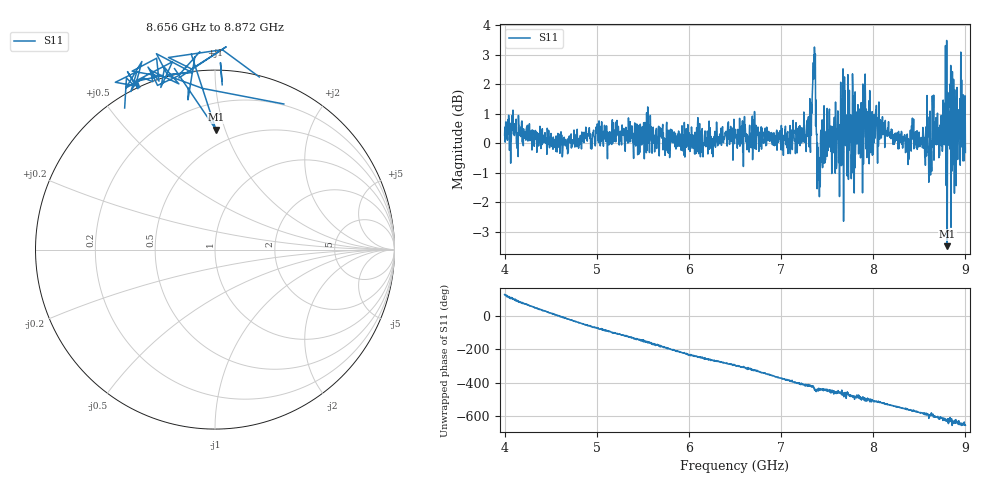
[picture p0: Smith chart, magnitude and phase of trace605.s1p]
! Created with skrf 1.8.0 (http://scikit-rf.org).
# Hz S RI R 50.0
!freq ReS11 ImS11
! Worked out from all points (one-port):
!   1601 points, 4 GHz to 9 GHz, reference 50 ohm
!   lowest |S11| = -3.5 dB at 8.803 GHz (marker M1), VSWR 5.04, Z = 19.2 + j46.5 ohm
!   |S11| at or under -10 dB: nowhere
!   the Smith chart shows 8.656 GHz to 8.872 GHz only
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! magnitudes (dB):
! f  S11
! 4 GHz  0.3
! 4.1 GHz  0.5
! 4.625 GHz  -0.5
! 5.25 GHz  0.1
! 5.875 GHz  -0.1
! 6.5 GHz  0.2
! 7.125 GHz  0.3
! 7.294 GHz  0.8
! 7.322 GHz  1.4
! 7.347 GHz  2.3
! 7.362 GHz  3.3
! 7.4 GHz  -0.1
! 7.412 GHz  -1.0
! 7.516 GHz  -0.1
! 7.609 GHz  0.2
! 7.669 GHz  1.0
! 7.75 GHz  0.3
! 8.05 GHz  0.9
! 8.375 GHz  -0.1
! 8.441 GHz  -0.2
! 8.612 GHz  -0.3
! 8.662 GHz  0.6
! 8.728 GHz  0.1
! 8.803 GHz  -3.5
! 8.834 GHz  2.0
! 8.869 GHz  -0.5
! 8.972 GHz  0.5
! 9 GHz  -0.3
